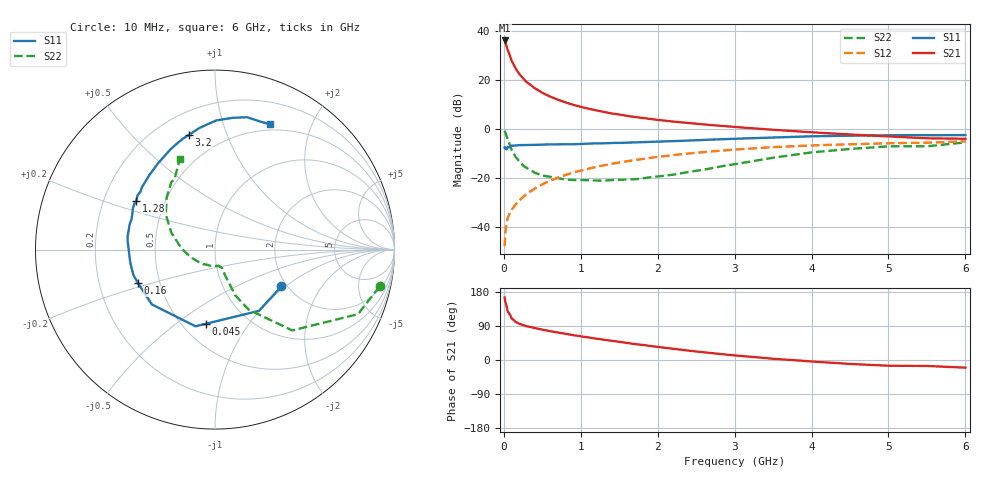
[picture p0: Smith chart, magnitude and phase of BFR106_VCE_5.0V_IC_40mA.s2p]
! Infineon Technologies  Discrete & RF Semiconductors
! BFR106
! VCE =  5.0 V,  IC =  40 mA
! Common Emitter S-Parameters:  Nov 2015
# GHz  S  MA  R  50
!  f  S11  S21  S12  S22
! GHz  MAG  ANG  MAG  ANG  MAG  ANG  MAG  ANG
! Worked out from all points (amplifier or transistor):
!   210 points, 10 MHz to 6 GHz, reference 50 ohm
!   highest |S21| = 36.3 dB at 10 MHz (marker M1)
!   |S21| within 3 dB of that: start of sweep to 41.08 MHz
!   unconditionally stable (mu >= 1): 280.5 MHz to 2.248 GHz
!   at 185 MHz: K = 0.90, MSG = 26.5 dB, |S12| = -29.6 dB
!   at 1.52 GHz: K = 1.05, MAG = 8.4 dB, |S12| = -13.5 dB
!   at 6 GHz: K = 0.98, MSG = 0.5 dB, |S12| = -4.9 dB
!   S11 on the Smith chart (normalised r, x): 10 MHz: 1.87, -0.93; 45 MHz: 0.65, -0.65; 160 MHz: 0.38, -0.18; 1.28 GHz: 0.34, +0.25; 3.2 GHz: 0.33, +0.74; 6 GHz: 0.43, +1.44
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0.01  0.4231 -29.0  65.3 164.9  0.0041 83.9  0.9397 -12.6
0.02  0.4201 -54.3  59.77 153.0  0.0081 71.0  0.8744 -24.3
0.045  0.416 -96.9  44.21 133.5  0.0142 61.7  0.6563 -41.5
0.05  0.441 -104.3  41.98 128.0  0.0154 60.7  0.6227 -46.3
0.1  0.4661 -139.1  25.43 109.9  0.0224 58.9  0.384 -60.7
0.15  0.4665 -154.7  17.68 100.8  0.0287 62.2  0.2767 -66.2
0.16  0.4677 -156.3  16.84 100.0  0.03 62.9  0.2654 -66.3
0.2  0.476 -162.6  13.56 95.7  0.035 65.2  0.2203 -66.8
0.26  0.477 -169.8  10.55 91.2  0.0427 67.3  0.1767 -68.0
0.3  0.4775 -172.8  9.136 88.9  0.048 68.4  0.1605 -68.6
0.4  0.4808 -179.8  6.935 84.2  0.0612 70.6  0.1301 -68.8
0.5  0.4883 175.2  5.562 79.9  0.075 70.9  0.1136 -68.6
0.6  0.4926 171.1  4.667 76.0  0.0888 70.5  0.1067 -70.2
0.8  0.4959 163.9  3.542 68.8  0.1164 69.2  0.0948 -75.9
1.02  0.5029 156.2  2.823 61.9  0.1462 67.0  0.092 -82.7
1.28  0.517 148.1  2.295 54.0  0.1813 63.8  0.0894 -94.9
2.02  0.5593 128.6  1.545 34.1  0.2753 53.5  0.1099 -137.6
3.1  0.6482 104.6  1.087 10.4  0.394 37.3  0.2056 171.1
3.2  0.6559 102.7  1.058 8.8  0.4032 35.7  0.2188 167.3
4.1  0.7232 88.0  0.85 -5.3  0.4744 22.4  0.3483 141.7
5.1  0.7576 75.2  0.703 -15.2  0.5215 9.5  0.449 122.2
6  0.7628 66.2  0.641 -20.2  0.567 -0.4  0.5406 111.3
